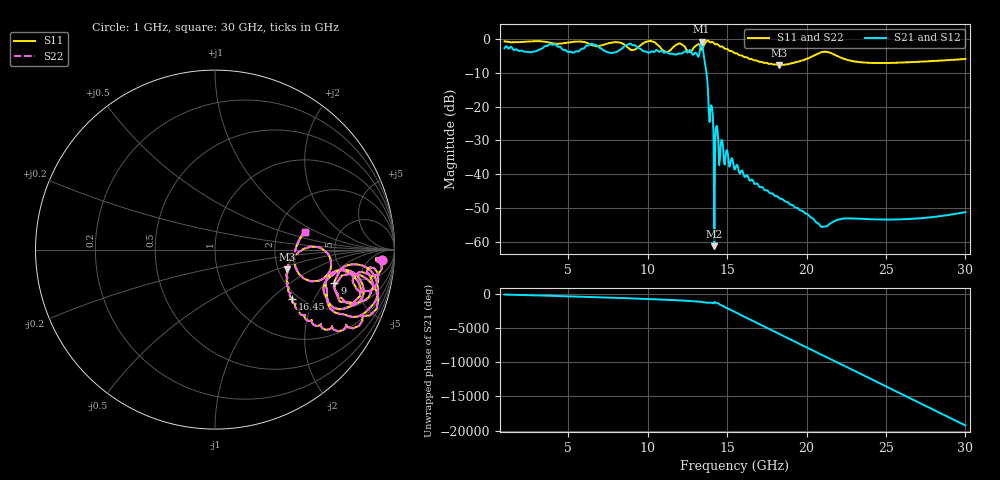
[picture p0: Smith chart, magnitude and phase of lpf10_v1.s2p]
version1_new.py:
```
# ============================================================
# COMPACT 10 GHz CRYOGENIC LPF
# openEMS V1 — PORT-CORRECTED
#
# Target:
#   Z0              = 50 ohm
#   fc              = 10 GHz
#   Chebyshev-I     = 0.2 dB ripple
#   Stopband        >= 60 dB @ 20 GHz
#
# Form factor:
#   65.3 mm x 5.0 mm x 4.6 mm
#
# Architecture:
#   symmetric 7-section stepped-impedance rectangular coax
#
# IMPORTANT:
#   This is the INITIAL EM DESIGN.
#   Do NOT claim the 60 dB target until full-wave S21 confirms it.
# ============================================================

from pathlib import Path
import os
import sys
import numpy as np
import matplotlib.pyplot as plt


# ============================================================
# OPENEMS PATH
# ============================================================

OPENEMS_PATH = (
    Path.home()
    / "Desktop"
    / "openEMS_x64_v0.0.36-93-g7b9cd51_msvc"
)

OPENEMS_ROOT = OPENEMS_PATH / "openEMS"

os.add_dll_directory(str(OPENEMS_ROOT))

sys.path.insert(
    0,
    str(OPENEMS_ROOT / "Python")
)

from CSXCAD import ContinuousStructure
from openEMS import openEMS


# ============================================================
# OUTPUT
# ============================================================

PROJECT_DIR = (
    Path.home()
    / "Desktop"
    / "cryogenic_filter_design"
    / "LPF10_V1"
)

PROJECT_DIR.mkdir(
    parents=True,
    exist_ok=True
)

XML_FILE = PROJECT_DIR / "lpf10_v1.xml"
SIM_DIR = PROJECT_DIR / "sim"


# ============================================================
# GLOBAL PARAMETERS
# ============================================================

C0 = 299792458.0

F_C = 10e9
F_STOP = 20e9

F_START = 1e9
F_END = 30e9
N_FREQ = 581

Z0 = 50.0


# ============================================================
# FORM FACTOR
# ============================================================

TOTAL_LENGTH = 65.3       # mm
OUTER_WIDTH = 5.0         # mm
OUTER_HEIGHT = 4.6        # mm

WALL = 0.20               # mm

# Center conductor heights
H_LOW = 0.30              # mm
H_HIGH = 0.80             # mm

# Center conductor width
CENTER_WIDTH = 1.20       # mm


# ============================================================
# FILTER LENGTH
# ============================================================

PORT_LENGTH = 8.0

FILTER_LENGTH = (
    TOTAL_LENGTH
    - 2.0 * PORT_LENGTH
)

SECTION_LENGTH = FILTER_LENGTH / 7.0


# ============================================================
# INITIAL IMPEDANCE TARGETS
# ============================================================

Z_LOW = 25.0
Z_HIGH = 85.0


# ============================================================
# CHEBYSHEV PROTOTYPE
# ============================================================

RIPPLE_DB = 0.2

epsilon = np.sqrt(
    10.0 ** (RIPPLE_DB / 10.0) - 1.0
)

N = 7

omega_s = F_STOP / F_C

A_ideal = (
    10.0
    * np.log10(
        1.0
        + epsilon**2
        * np.cosh(
            N * np.arccosh(omega_s)
        )**2
    )
)


# ============================================================
# DESIGN INFORMATION
# ============================================================

print()
print("=" * 70)
print("COMPACT 10 GHz CRYOGENIC LPF")
print("=" * 70)

print(
    f"Form factor       : "
    f"{TOTAL_LENGTH:.2f} x "
    f"{OUTER_WIDTH:.2f} x "
    f"{OUTER_HEIGHT:.2f} mm"
)

print(
    f"Cutoff target      : {F_C/1e9:.2f} GHz"
)

print(
    f"Stopband test      : {F_STOP/1e9:.2f} GHz"
)

print(
    f"Ripple             : {RIPPLE_DB:.2f} dB"
)

print(
    f"Order              : {N}"
)

print(
    f"Ideal attenuation  : {A_ideal:.3f} dB"
)

print(
    f"Section length     : {SECTION_LENGTH:.6f} mm"
)

print(
    f"Low-Z height       : {H_LOW:.3f} mm"
)

print(
    f"High-Z height      : {H_HIGH:.3f} mm"
)

print("=" * 70)


# ============================================================
# FDTD
# ============================================================

FDTD = openEMS(
    EndCriteria=1e-7,
    NrTS=180000
)

FDTD.SetGaussExcite(
    17e9,
    17e9
)

FDTD.SetBoundaryCond(
    [
        "PML_8",
        "PML_8",
        "PML_8",
        "PML_8",
        "PML_8",
        "PML_8",
    ]
)


# ============================================================
# STRUCTURE
# ============================================================

CSX = ContinuousStructure()

FDTD.SetCSX(CSX)


# ============================================================
# MATERIAL
# ============================================================

metal = CSX.AddMetal(
    "Copper"
)

# Background is vacuum.
# No explicit vacuum primitive is required.


# ============================================================
# MESH
# ============================================================

mesh = CSX.GetGrid()

# All dimensions are specified in mm.
mesh.SetDeltaUnit(1e-3)


# ============================================================
# X MESH
# ============================================================

x_lines = [
    0.0,
    TOTAL_LENGTH,
]

# Filter section boundaries
for n in range(8):

    x = (
        PORT_LENGTH
        + n * SECTION_LENGTH
    )

    x_lines.append(x)


# Launch refinement
x_lines.extend([
    PORT_LENGTH - 2.0,
    PORT_LENGTH - 1.0,
    PORT_LENGTH + 1.0,
    PORT_LENGTH + 2.0,

    TOTAL_LENGTH - PORT_LENGTH - 2.0,
    TOTAL_LENGTH - PORT_LENGTH - 1.0,
    TOTAL_LENGTH - PORT_LENGTH + 1.0,
    TOTAL_LENGTH - PORT_LENGTH + 2.0,
])


# Refine around all x discontinuities
for x in list(x_lines):

    for dx in [
        -0.10,
        -0.05,
        0.05,
        0.10,
    ]:

        xx = x + dx

        if 0.0 < xx < TOTAL_LENGTH:
            x_lines.append(xx)


x_lines = sorted(
    set(x_lines)
)

mesh.AddLine(
    "x",
    x_lines
)


# ============================================================
# Y MESH
# ============================================================

y_lines = [
    -OUTER_WIDTH / 2,
    -OUTER_WIDTH / 2 + WALL,

    -CENTER_WIDTH / 2,
    0.0,
    CENTER_WIDTH / 2,

    OUTER_WIDTH / 2 - WALL,
    OUTER_WIDTH / 2,
]


# Explicit port boundaries
y_lines.extend([
    -CENTER_WIDTH / 2,
    0.0,
    CENTER_WIDTH / 2,
])


# Refine
for y in list(y_lines):

    for dy in [
        -0.05,
        0.05,
    ]:

        yy = y + dy

        if (
            -OUTER_WIDTH / 2
            < yy
            < OUTER_WIDTH / 2
        ):
            y_lines.append(yy)


y_lines = sorted(
    set(y_lines)
)

mesh.AddLine(
    "y",
    y_lines
)


# ============================================================
# Z MESH
# ============================================================

z_lines = [
    -OUTER_HEIGHT / 2,
    -OUTER_HEIGHT / 2 + WALL,

    -H_HIGH / 2,
    -H_LOW / 2,

    0.0,

    H_LOW / 2,
    H_HIGH / 2,

    OUTER_HEIGHT / 2 - WALL,
    OUTER_HEIGHT / 2,
]


# Explicit port boundaries
z_lines.extend([
    H_LOW / 2,
    OUTER_HEIGHT / 2 - WALL,
])


# Refine
for z in list(z_lines):

    for dz in [
        -0.05,
        0.05,
    ]:

        zz = z + dz

        if (
            -OUTER_HEIGHT / 2
            < zz
            < OUTER_HEIGHT / 2
        ):
            z_lines.append(zz)


z_lines = sorted(
    set(z_lines)
)

mesh.AddLine(
    "z",
    z_lines
)


# ============================================================
# OUTER CONDUCTOR
# ============================================================

# Bottom wall
metal.AddBox(
    [
        0.0,
        -OUTER_WIDTH / 2,
        -OUTER_HEIGHT / 2,
    ],
    [
        TOTAL_LENGTH,
        OUTER_WIDTH / 2,
        -OUTER_HEIGHT / 2 + WALL,
    ],
    priority=10
)


# Top wall
metal.AddBox(
    [
        0.0,
        -OUTER_WIDTH / 2,
        OUTER_HEIGHT / 2 - WALL,
    ],
    [
        TOTAL_LENGTH,
        OUTER_WIDTH / 2,
        OUTER_HEIGHT / 2,
    ],
    priority=10
)


# Left wall
metal.AddBox(
    [
        0.0,
        -OUTER_WIDTH / 2,
        -OUTER_HEIGHT / 2,
    ],
    [
        TOTAL_LENGTH,
        -OUTER_WIDTH / 2 + WALL,
        OUTER_HEIGHT / 2,
    ],
    priority=10
)


# Right wall
metal.AddBox(
    [
        0.0,
        OUTER_WIDTH / 2 - WALL,
        -OUTER_HEIGHT / 2,
    ],
    [
        TOTAL_LENGTH,
        OUTER_WIDTH / 2,
        OUTER_HEIGHT / 2,
    ],
    priority=10
)


# ============================================================
# CENTER CONDUCTOR
# ============================================================

pattern = [
    "LOW",
    "HIGH",
    "LOW",
    "HIGH",
    "LOW",
    "HIGH",
    "LOW",
]


def section_geometry(n):

    x0 = (
        PORT_LENGTH
        + n * SECTION_LENGTH
    )

    x1 = x0 + SECTION_LENGTH

    if pattern[n] == "LOW":
        h = H_LOW
    else:
        h = H_HIGH

    return x0, x1, h


# ============================================================
# INPUT LAUNCH
# ============================================================

metal.AddBox(
    [
        0.0,
        -CENTER_WIDTH / 2,
        -H_LOW / 2,
    ],
    [
        PORT_LENGTH,
        CENTER_WIDTH / 2,
        H_LOW / 2,
    ],
    priority=20
)


# ============================================================
# FILTER SECTIONS
# ============================================================

for n in range(7):

    x0, x1, h = section_geometry(n)

    metal.AddBox(
        [
            x0,
            -CENTER_WIDTH / 2,
            -h / 2,
        ],
        [
            x1,
            CENTER_WIDTH / 2,
            h / 2,
        ],
        priority=20
    )


# ============================================================
# OUTPUT LAUNCH
# ============================================================

metal.AddBox(
    [
        TOTAL_LENGTH - PORT_LENGTH,
        -CENTER_WIDTH / 2,
        -H_LOW / 2,
    ],
    [
        TOTAL_LENGTH,
        CENTER_WIDTH / 2,
        H_LOW / 2,
    ],
    priority=20
)


# ============================================================
# PORTS
# ============================================================
#
# The previous port was wrong because it had zero transverse
# area and resulted in:
#
#     Voltage excitations : 0
#     Current excitations : 0
#     Active cells        : 0
#
# The ports below span the full center-conductor width in Y
# and the vacuum region from the center conductor to the
# upper outer conductor in Z.
#
# Port dimensions:
#
#     Y : -0.6 ... +0.6 mm
#     Z : +0.15 ... +2.10 mm
#
# The excitation direction is Z.
# ============================================================

PORT1_X = PORT_LENGTH - 1.0

PORT2_X = (
    TOTAL_LENGTH
    - PORT_LENGTH
    + 1.0
)

PORT_Y1 = -CENTER_WIDTH / 2
PORT_Y2 = CENTER_WIDTH / 2

PORT_Z1 = H_LOW / 2
PORT_Z2 = OUTER_HEIGHT / 2 - WALL


# ============================================================
# INPUT PORT
# ============================================================

port1 = FDTD.AddLumpedPort(
    1,
    Z0,

    [
        PORT1_X,
        PORT_Y1,
        PORT_Z1,
    ],

    [
        PORT1_X,
        PORT_Y2,
        PORT_Z2,
    ],

    "z",

    excite=1.0,
    priority=30,
)


# ============================================================
# OUTPUT PORT
# ============================================================

port2 = FDTD.AddLumpedPort(
    2,
    Z0,

    [
        PORT2_X,
        PORT_Y1,
        PORT_Z1,
    ],

    [
        PORT2_X,
        PORT_Y2,
        PORT_Z2,
    ],

    "z",

    excite=0.0,
    priority=30,
)


# ============================================================
# WRITE XML
# ============================================================

CSX.Write2XML(
    str(XML_FILE)
)

print()
print("XML written:")
print(XML_FILE)


# ============================================================
# SIMULATION DIRECTORY
# ============================================================

SIM_DIR.mkdir(
    parents=True,
    exist_ok=True
)


# ============================================================
# RUN SIMULATION
# ============================================================

print()
print("Starting openEMS...")
print()

FDTD.Run(
    str(SIM_DIR),
    cleanup=True,
    verbose=3,
    numThreads=-1,
    disable_dumps=True,
)


# ============================================================
# POST PROCESSING
# ============================================================

print()
print("Simulation finished.")
print()
print("Calculating port data...")


FREQ = np.linspace(
    F_START,
    F_END,
    N_FREQ
)


# ============================================================
# CALCULATE PORT DATA
# ============================================================

port1.CalcPort(
    str(SIM_DIR),
    FREQ,
    ref_impedance=Z0,
)

port2.CalcPort(
    str(SIM_DIR),
    FREQ,
    ref_impedance=Z0,
)


# ============================================================
# S PARAMETERS
# ============================================================

s11 = (
    port1.uf_ref
    / port1.uf_inc
)

s21 = (
    port2.uf_ref
    / port1.uf_inc
)


S11_DB = 20.0 * np.log10(
    np.maximum(
        np.abs(s11),
        1e-15,
    )
)

S21_DB = 20.0 * np.log10(
    np.maximum(
        np.abs(s21),
        1e-15,
    )
)


# ============================================================
# METRICS
# ============================================================

passband = (
    FREQ <= 10e9
)

stopband_20 = np.abs(
    FREQ - 20e9
).argmin()


# ============================================================
# RESULTS
# ============================================================

print()
print("=" * 70)
print("RESULTS")
print("=" * 70)

print(
    f"S21 @ 20 GHz       = "
    f"{S21_DB[stopband_20]:.3f} dB"
)

if np.any(passband):

    print(
        f"Worst S21 < 10 GHz = "
        f"{np.max(S21_DB[passband]):.3f} dB"
    )

    print(
        f"Worst S11 < 10 GHz = "
        f"{np.max(S11_DB[passband]):.3f} dB"
    )

print("=" * 70)


# ============================================================
# SAVE TOUCHSTONE
# ============================================================

S2P_FILE = (
    PROJECT_DIR
    / "lpf10_v1.s2p"
)


with open(
    S2P_FILE,
    "w"
) as f:

    f.write(
        "# GHz S RI R 50\n"
    )

    for k, freq in enumerate(FREQ):

        # S11
        f.write(
            f"{freq/1e9:.9f} "
            f"{np.real(s11[k]):.12e} "
            f"{np.imag(s11[k]):.12e} "
        )

        # S21
        f.write(
            f"{np.real(s21[k]):.12e} "
            f"{np.imag(s21[k]):.12e} "
        )

        # S12
        f.write(
            f"{np.real(s21[k]):.12e} "
            f"{np.imag(s21[k]):.12e} "
        )

        # S22
        f.write(
            f"{np.real(s11[k]):.12e} "
            f"{np.imag(s11[k]):.12e}\n"
        )


print()
print("Touchstone written:")
print(S2P_FILE)


# ============================================================
# PLOT
# ============================================================

fig, ax = plt.subplots(
    figsize=(11, 6)
)

ax.plot(
    FREQ / 1e9,
    S21_DB,
    label="S21",
)

ax.plot(
    FREQ / 1e9,
    S11_DB,
    label="S11",
)

ax.axvline(
    10,
    linestyle="--",
    label="10 GHz",
)

ax.axvline(
    20,
    linestyle="--",
    label="20 GHz",
)

ax.axhline(
    -60,
    linestyle="--",
    label="-60 dB",
)

ax.set_xlabel(
    "Frequency (GHz)"
)

ax.set_ylabel(
    "Magnitude (dB)"
)

ax.set_title(
    "Compact 10 GHz Cryogenic LPF — openEMS V1"
)

ax.set_xlim(
    1,
    30
)

ax.set_ylim(
    -100,
    5
)

ax.grid(True)
ax.legend()

plt.tight_layout()


PLOT_FILE = (
    PROJECT_DIR
    / "lpf10_v1_response.png"
)

plt.savefig(
    PLOT_FILE,
    dpi=200
)

plt.show()


print()
print("Plot written:")
print(PLOT_FILE)

print()
print("DONE.")
```
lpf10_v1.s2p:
# GHz S RI R 50
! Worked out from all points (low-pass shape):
!   581 points, 1 GHz to 30 GHz, reference 50 ohm
!   highest |S21| = -0.73 dB at 13.4 GHz (marker M1); lowest = -61.3 dB at 14.2 GHz (marker M2)
!   |S21| within 3 dB of the highest: 2.767 GHz to 4.961 GHz (2.194 GHz wide, 56.8 % of centre); 5.431 GHz to 7.424 GHz (1.993 GHz wide, 31 % of centre)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
!   lowest |S11| = -7.6 dB at 18.25 GHz (marker M3), VSWR 2.42, Z = 111 - j29.7 ohm
!   |S11| at or under -10 dB: nowhere
!   |S22| runs from -7.6 to -0.4 dB; largest |S21 - S12| = 0
!   S11 on the Smith chart (normalised r, x): 1 GHz: 16, -14; 9 GHz: 3.57, -2.53; 16.45 GHz: 1.86, -1.37; 30 GHz: 2.86, +0.76
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1  0.9307 -0.0577  0.1712 -0.713  0.1712 -0.713  0.9307 -0.0577
4  0.8597 -0.1385  0.0154 0.824  0.0154 0.824  0.8597 -0.1385
6.55  0.7825 -0.2064  -0.0455 -0.8444  -0.0455 -0.8444  0.7825 -0.2064
9  0.665 -0.1853  0.2224 0.7997  0.2224 0.7997  0.665 -0.1853
12.55  0.6248 -0.24  0.0882 0.6376  0.0882 0.6376  0.6248 -0.24
13.4  0.6611 -0.2083  0.2162 -0.8932  0.2162 -0.8932  0.6611 -0.2083
14.2  0.739 -0.4315  -0.000208 -0.000831  -0.000208 -0.000831  0.739 -0.4315
15.5  0.4994 -0.3661  -0.00639 -0.00984  -0.00639 -0.00984  0.4994 -0.3661
16.45  0.4314 -0.273  -0.00576 -0.00555  -0.00576 -0.00555  0.4314 -0.273
18.25  0.4009 -0.1104  0.00318 -0.00321  0.00318 -0.00321  0.4009 -0.1104
30  0.5007 0.0983  -0.00267 -0.000592  -0.00267 -0.000592  0.5007 0.0983
